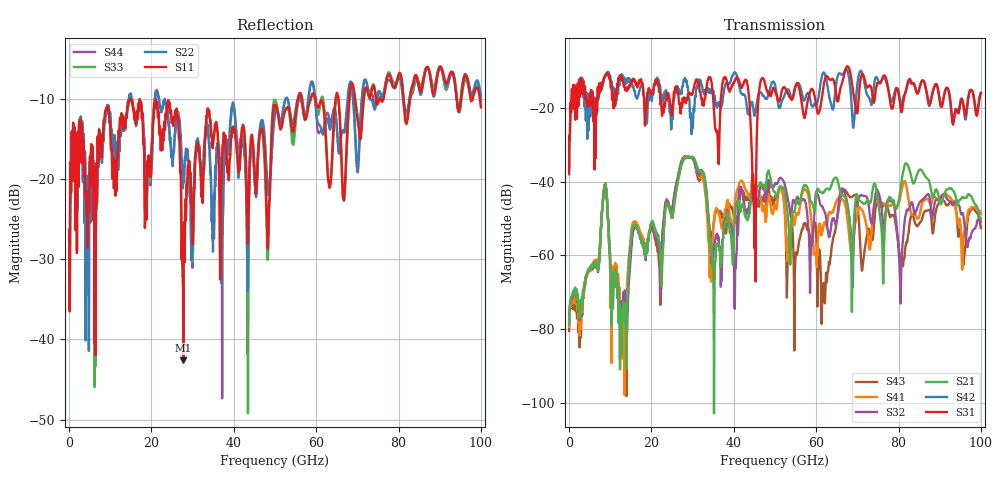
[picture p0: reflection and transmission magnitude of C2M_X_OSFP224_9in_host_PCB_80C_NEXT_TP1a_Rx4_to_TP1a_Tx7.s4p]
# GHz S RI R 45
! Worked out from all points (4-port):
!   4000 points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, 25 MHz to 100 GHz, reference 45 ohm
!   strongest paths, dB at 25 MHz, 25.02 GHz, 50.02 GHz, 75.03 GHz, 100 GHz:
!     S31: -37.5, -21.0, -15.4, -13.2, -16.0
!     S42: -38.0, -22.6, -13.7, -12.5, -15.9
!     S21: -78.7, -49.2, -42.8, -45.2, -50.1
!     S32: -78.0, -47.9, -40.5, -42.6, -50.8
!     S41: -79.2, -49.2, -46.1, -46.2, -48.7
!     S43: -80.5, -47.6, -43.9, -44.4, -52.6
!   lowest |S11| = -42.6 dB at 27.75 GHz (marker M1), VSWR 1.01, Z = 44.9 + j0.661 ohm
!   |S11| at or under -10 dB: start of sweep to 14.78 GHz; 21.08 GHz to 55.56 GHz (34.48 GHz wide, 90 % of centre); 59.87 GHz to 64.7 GHz (4.828 GHz wide, 7.75 % of centre)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
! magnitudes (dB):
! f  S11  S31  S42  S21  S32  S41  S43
! 25 MHz  -27.4  -37.5  -38.0  -78.7  -78.0  -79.2  -80.5
! 27.75 GHz  -42.6  -18.5  -13.0  -34.4  -34.1  -34.0  -33.6
! 35.2 GHz  -14.4  -20.6  -16.8  -102.8  -58.4  -51.1  -50.7
! 43.02 GHz  -19.2  -12.7  -18.5  -50.0  -48.6  -42.5  -45.0
! 44.98 GHz  -18.2  -48.1  -22.0  -43.3  -48.9  -41.2  -45.4
! 48.45 GHz  -25.6  -16.4  -16.2  -37.0  -39.6  -43.6  -41.7
! 100 GHz  -11.0  -16.0  -15.9  -50.1  -50.8  -48.7  -52.6
